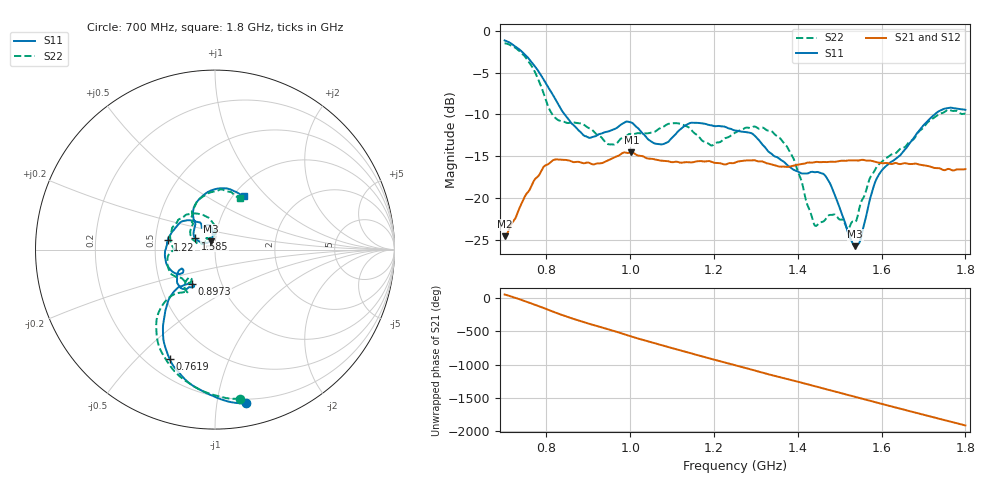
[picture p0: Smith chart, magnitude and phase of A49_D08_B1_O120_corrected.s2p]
! Created with skrf 1.9.0 (http://scikit-rf.org).
# Hz S RI R 50.0
!freq ReS11 ImS11 ReS21 ImS21 ReS12 ImS12 ReS22 ImS22
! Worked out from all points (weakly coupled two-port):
!   1601 points, 700 MHz to 1.8 GHz, reference 50 ohm
!   highest |S21| = -14.53 dB at 1.002 GHz (marker M1); lowest = -24.5 dB at 700.7 MHz (marker M2)
!   lowest |S11| = -25.7 dB at 1.537 GHz (marker M3), VSWR 1.11, Z = 47.4 + j4.31 ohm
!   |S11| at or under -10 dB: 843.3 MHz to 1.726 GHz (883.1 MHz wide, 68.7 % of centre)
!   |S22| runs from -23.7 to -1.5 dB; largest |S21 - S12| = 0.0036
!   S11 on the Smith chart (normalised r, x): 700 MHz: 0.17, -1.21; 761.9 MHz: 0.29, -0.63; 897.3 MHz: 0.72, -0.29; 1.22 GHz: 0.58, +0.07; 1.585 GHz: 0.80, +0.10; 1.8 GHz: 1.12, +0.75
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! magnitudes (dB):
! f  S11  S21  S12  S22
! 700 MHz  -1.2  -24.5  -24.3  -1.5
! 700.7 MHz  -1.2  -24.5  -24.2  -1.5
! 761.9 MHz  -3.6  -18.8  -18.7  -4.0
! 818.2 MHz  -7.9  -15.4  -15.5  -10.3
! 883.6 MHz  -12.2  -15.8  -15.7  -11.1
! 897.3 MHz  -12.7  -15.8  -15.8  -11.5
! 949.6 MHz  -12.0  -15.4  -15.4  -13.6
! 1.002 GHz  -11.0  -14.5  -14.6  -12.4
! 1.067 GHz  -13.5  -15.5  -15.4  -11.8
! 1.143 GHz  -11.0  -15.7  -15.7  -11.7
! 1.22 GHz  -11.4  -15.9  -15.9  -13.1
! 1.25 GHz  -11.9  -15.8  -15.7  -12.2
! 1.359 GHz  -15.4  -16.2  -16.2  -12.9
! 1.391 GHz  -16.6  -16.1  -16.1  -15.4
! 1.434 GHz  -16.9  -15.8  -15.7  -22.3
! 1.472 GHz  -17.8  -15.7  -15.7  -22.1
! 1.537 GHz  -25.7  -15.5  -15.5  -22.9
! 1.55 GHz  -24.9  -15.5  -15.5  -20.6
! 1.585 GHz  -18.0  -15.7  -15.7  -16.5
! 1.617 GHz  -15.9  -15.9  -15.8  -15.0
! 1.733 GHz  -9.7  -16.4  -16.4  -10.1
! 1.8 GHz  -9.4  -16.5  -16.5  -9.9
